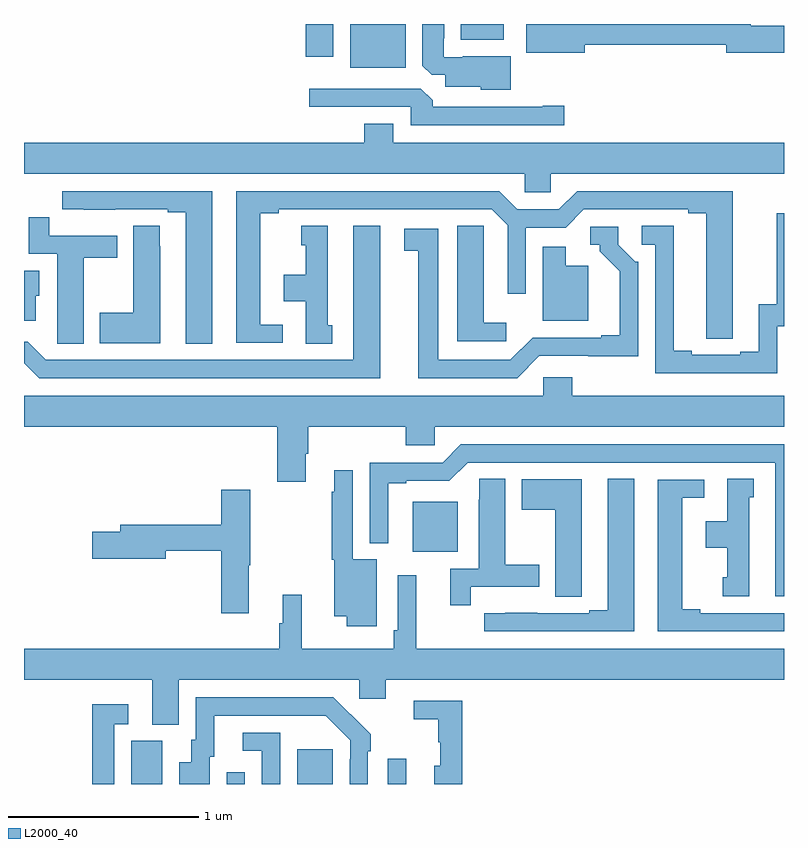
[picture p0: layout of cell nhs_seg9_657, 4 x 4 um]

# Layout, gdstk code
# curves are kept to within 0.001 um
import gdstk
lib = gdstk.Library(unit=1e-6, precision=1e-09)
def R(c, l, rs):  # rectangles x0, y0, x1, y1
    for r in rs: c.add(gdstk.rectangle(r[:2], r[2:], *l))
def P(c, l, *ps):  # polygons
    for p in ps: c.add(gdstk.Polygon(p, *l))
L2000_40 = (2000, 40)

nhs_seg9_657 = lib.new_cell('nhs_seg9_657')
R(nhs_seg9_657, L2000_40, [(143.564,1234.5,143.728,1234.728), (144.066,1234.5,144.162,1234.561), (144.437,1234.5,144.625,1234.684), (144.915,1234.5,145.011,1234.633), (145.046,1235.723,145.282,1235.986), (144.716,1238.27,145.009,1238.5), (144.482,1238.328,144.628,1238.5), (145.298,1238.417,145.525,1238.5)])
P(nhs_seg9_657, L2000_40, [(145.951,1238.392),(146.696,1238.392),(146.696,1238.35),(147,1238.35),(147,1238.492),(146.824,1238.492),(146.824,1238.5),(145.644,1238.5),(145.644,1238.348),(145.951,1238.348)],
  [(145.561,1238.329),(145.309,1238.329),(145.309,1238.325),(145.209,1238.325),(145.209,1238.425),(145.213,1238.425),(145.213,1238.5),(145.097,1238.5),(145.097,1238.281),(145.146,1238.232),(145.217,1238.232),(145.217,1238.171),(145.404,1238.171),(145.404,1238.153),(145.561,1238.153)],
  [(145.843,1238.069),(145.73,1238.069),(145.73,1238.064),(145.151,1238.064),(145.151,1238.098),(145.089,1238.16),(144.501,1238.16),(144.501,1238.064),(145.035,1238.064),(145.035,1237.968),(145.843,1237.968)],
  [(145.773,1237.712),(147,1237.712),(147,1237.876),(144.943,1237.876),(144.943,1237.975),(144.791,1237.975),(144.791,1237.876),(143,1237.876),(143,1237.712),(145.635,1237.712),(145.635,1237.614),(145.773,1237.614)],
  [(143.992,1237.62),(143.202,1237.62),(143.202,1237.524),(143.314,1237.524),(143.314,1237.523),(143.48,1237.523),(143.48,1237.524),(143.756,1237.524),(143.756,1237.509),(143.852,1237.509),(143.852,1236.817),(143.992,1236.817)],
  [(144.361,1236.918),(144.244,1236.918),(144.244,1237.504),(144.34,1237.504),(144.34,1237.524),(145.461,1237.524),(145.545,1237.44),(145.545,1237.08),(145.641,1237.08),(145.641,1237.428),(145.851,1237.428),(145.947,1237.524),(146.495,1237.524),(146.495,1237.504),(146.591,1237.504),(146.591,1236.844),(146.73,1236.844),(146.731,1237.62),(145.911,1237.62),(145.815,1237.524),(145.597,1237.524),(145.501,1237.62),(144.116,1237.62),(144.116,1236.822),(144.361,1236.822)],
  [(146.964,1236.909),(147,1236.909),(147,1237.503),(146.962,1237.503),(146.962,1237.025),(146.867,1237.025),(146.867,1236.774),(146.771,1236.774),(146.771,1236.759),(146.515,1236.759),(146.515,1236.779),(146.419,1236.779),(146.419,1237.439),(146.25,1237.439),(146.25,1237.338),(146.322,1237.338),(146.322,1236.663),(146.964,1236.663)],
  [(143.314,1237.27),(143.491,1237.27),(143.491,1237.386),(143.132,1237.386),(143.132,1237.483),(143.024,1237.483),(143.024,1237.29),(143.174,1237.29),(143.174,1236.928),(143.175,1236.928),(143.175,1236.817),(143.314,1236.817)],
  [(145.537,1236.928),(145.42,1236.928),(145.42,1237.331),(145.419,1237.331),(145.419,1237.439),(145.28,1237.439),(145.28,1236.831),(145.537,1236.831)],
  [(143.716,1237.331),(143.715,1237.331),(143.715,1237.439),(143.576,1237.439),(143.576,1236.981),(143.399,1236.981),(143.399,1236.821),(143.716,1236.821)],
  [(144.874,1237.438),(144.734,1237.438),(144.734,1236.732),(143.115,1236.732),(143.019,1236.828),(143,1236.828),(143,1236.715),(143.079,1236.636),(144.874,1236.636)],
  [(144.622,1236.915),(144.598,1236.915),(144.598,1237.438),(144.458,1237.438),(144.458,1237.335),(144.482,1237.335),(144.482,1237.18),(144.368,1237.18),(144.368,1237.04),(144.482,1237.04),(144.482,1236.817),(144.622,1236.817)],
  [(145.713,1236.753),(146.232,1236.752),(146.232,1237.248),(146.217,1237.248),(146.127,1237.338),(146.127,1237.434),(145.98,1237.434),(145.98,1237.338),(146.03,1237.338),(146.03,1237.303),(146.135,1237.198),(146.135,1236.862),(146.039,1236.862),(146.039,1236.849),(145.677,1236.849),(145.56,1236.732),(145.18,1236.732),(145.18,1237.422),(145.002,1237.422),(145.002,1237.306),(145.076,1237.306),(145.076,1236.636),(145.596,1236.636)],
  [(145.969,1237.228),(145.852,1237.228),(145.852,1237.327),(145.73,1237.327),(145.73,1236.938),(145.969,1236.938)],
  [(143.062,1237.071),(143.08,1237.071),(143.08,1237.201),(143,1237.201),(143,1236.938),(143.062,1236.938)],
  [(143,1236.38),(144.332,1236.38),(144.332,1236.09),(144.484,1236.09),(144.484,1236.238),(144.497,1236.238),(144.497,1236.38),(145.01,1236.38),(145.01,1236.282),(145.161,1236.282),(145.161,1236.38),(147,1236.38),(147,1236.544),(145.886,1236.544),(145.886,1236.642),(145.734,1236.642),(145.734,1236.544),(143,1236.544)],
  [(147,1236.288),(145.299,1236.288),(145.203,1236.192),(144.819,1236.192),(144.819,1235.768),(144.916,1235.768),(144.916,1236.084),(145.012,1236.084),(145.012,1236.096),(145.239,1236.096),(145.335,1236.192),(146.954,1236.192),(146.954,1235.487),(147,1235.487)],
  [(144.856,1235.683),(144.729,1235.683),(144.729,1236.151),(144.632,1236.151),(144.632,1236.038),(144.621,1236.038),(144.621,1235.679),(144.632,1235.679),(144.632,1235.384),(144.698,1235.384),(144.698,1235.331),(144.856,1235.331)],
  [(145.352,1235.538),(145.711,1235.538),(145.711,1235.655),(145.534,1235.655),(145.534,1236.107),(145.395,1236.107),(145.395,1235.996),(145.394,1235.996),(145.394,1235.634),(145.244,1235.634),(145.244,1235.442),(145.352,1235.442)],
  [(146.818,1236.009),(146.842,1236.009),(146.842,1236.107),(146.702,1236.107),(146.702,1235.884),(146.588,1235.884),(146.588,1235.744),(146.702,1235.744),(146.702,1235.589),(146.678,1235.589),(146.678,1235.487),(146.818,1235.487)],
  [(146.212,1236.107),(146.072,1236.107),(146.072,1235.415),(145.976,1235.415),(145.976,1235.4),(145.7,1235.4),(145.7,1235.401),(145.534,1235.401),(145.534,1235.4),(145.422,1235.4),(145.422,1235.304),(146.212,1235.304)],
  [(145.935,1235.593),(145.936,1235.593),(145.936,1236.103),(145.619,1236.103),(145.619,1235.944),(145.796,1235.944),(145.796,1235.485),(145.935,1235.485)],
  [(147,1235.4),(146.56,1235.4),(146.56,1235.42),(146.464,1235.42),(146.464,1236.006),(146.581,1236.006),(146.581,1236.102),(146.336,1236.102),(146.336,1235.304),(147,1235.304)],
  [(144.184,1235.651),(144.192,1235.651),(144.192,1236.049),(144.038,1236.049),(144.038,1235.864),(143.507,1235.864),(143.507,1235.828),(143.358,1235.828),(143.358,1235.686),(143.746,1235.686),(143.746,1235.728),(144.038,1235.728),(144.038,1235.4),(144.184,1235.4)],
  [(143.815,1235.048),(144.765,1235.048),(144.765,1234.95),(144.904,1234.95),(144.904,1235.048),(147,1235.048),(147,1235.212),(145.064,1235.212),(145.064,1235.599),(144.966,1235.599),(144.966,1235.308),(144.946,1235.308),(144.946,1235.212),(144.462,1235.212),(144.462,1235.497),(144.362,1235.497),(144.362,1235.346),(144.343,1235.346),(144.343,1235.212),(143,1235.212),(143,1235.048),(143.675,1235.048),(143.675,1234.813),(143.815,1234.813)],
  [(143.977,1234.644),(144.001,1234.644),(144.001,1234.86),(144.589,1234.86),(144.717,1234.731),(144.717,1234.631),(144.714,1234.631),(144.714,1234.5),(144.81,1234.5),(144.81,1234.673),(144.825,1234.673),(144.825,1234.761),(144.628,1234.956),(143.904,1234.956),(143.904,1234.734),(143.879,1234.734),(143.879,1234.615),(143.816,1234.615),(143.816,1234.5),(143.977,1234.5)],
  [(145.307,1234.938),(145.05,1234.938),(145.05,1234.84),(145.179,1234.84),(145.179,1234.719),(145.19,1234.719),(145.19,1234.597),(145.16,1234.597),(145.16,1234.5),(145.307,1234.5)],
  [(143.475,1234.815),(143.548,1234.815),(143.548,1234.921),(143.359,1234.921),(143.359,1234.5),(143.475,1234.5)],
  [(144.348,1234.77),(144.15,1234.77),(144.15,1234.674),(144.252,1234.674),(144.252,1234.5),(144.348,1234.5)])

lib.write_gds('nhs_seg9_657.gds')
